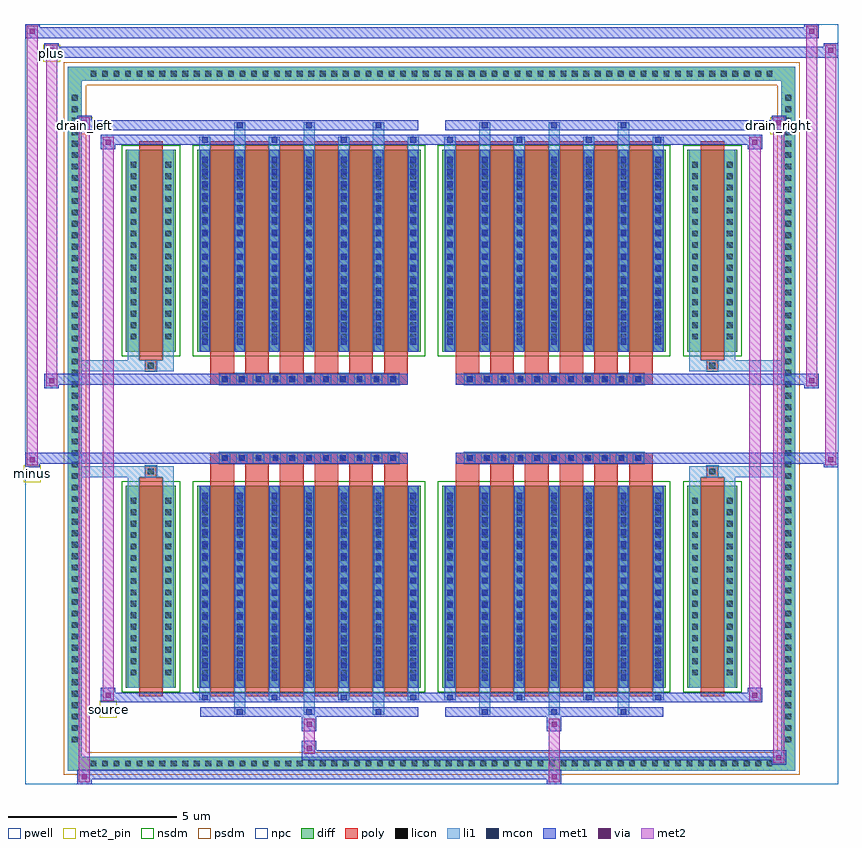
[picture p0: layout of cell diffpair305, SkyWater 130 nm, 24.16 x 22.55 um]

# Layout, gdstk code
import gdstk
lib = gdstk.Library(unit=1e-6, precision=5e-09)
def R(c, l, rs):  # rectangles x0, y0, x1, y1
    for r in rs: c.add(gdstk.rectangle(r[:2], r[2:], *l))
def A(c, l, x, y, w, h, nx, ny, dx, dy):  # array of equal rectangles
    R(c, l, [(x+i*dx, y+j*dy, x+i*dx+w, y+j*dy+h) for i in range(nx) for j in range(ny)])
def P(c, l, *ps):  # polygons
    for p in ps: c.add(gdstk.Polygon(p, *l))
pwell = (64, 44)
diff = (65, 20)
poly = (66, 20)
licon = (66, 44)
li1 = (67, 20)
mcon = (67, 44)
met1 = (68, 20)
via = (68, 44)
met2_pin = (69, 16)
met2 = (69, 20)
nsdm = (93, 44)
psdm = (94, 20)
npc = (95, 20)

diffpair305 = lib.new_cell('diffpair305')
R(diffpair305, pwell, [(-12.06,-10.84,12.06,11.71), (-9.38,-9.03,-0.01,-0.805), (0.01,-9.03,9.38,-0.805), (-9.38,0.805,-0.01,9.03), (0.01,0.805,9.38,9.03)])
A(diffpair305, diff, -10.235, -10.44, 0.41, 0.41, 60, 2, 0.34, 20.47)
A(diffpair305, diff, -10.79, -9.725, 0.41, 0.41, 1, 57, 0, 0.34)
A(diffpair305, diff, 10.38, -9.725, 0.41, 0.41, 1, 57, 0, 0.34)
R(diffpair305, diff, [(-10.235,-10.44,10.235,-10.03), (-10.79,-9.725,-10.38,9.725), (10.38,-9.725,10.79,9.725), (-9.07,-7.985,-7.59,-1.985), (-6.95,-7.985,-0.32,-1.985), (0.32,-7.985,6.95,-1.985), (7.59,-7.985,9.07,-1.985), (-9.07,1.985,-7.59,7.985), (-6.95,1.985,-0.32,7.985), (0.32,1.985,6.95,7.985), (7.59,1.985,9.07,7.985), (-10.235,10.03,10.235,10.44)])
P(diffpair305, diff, [(10.79,10.44),(-10.79,10.44),(-10.79,-10.03),(-10.38,-10.03),(-10.38,10.03),(10.38,10.03),(10.38,-10.03),(-10.38,-10.03),(-10.79,-10.03),(-10.79,-10.44),(10.79,-10.44)])
A(diffpair305, poly, -6.56, -8.235, 0.7, 6.5, 6, 2, 1.03, 9.97)
A(diffpair305, poly, 0.71, -8.235, 0.7, 6.5, 6, 2, 1.03, 9.97)
A(diffpair305, poly, -6.56, -1.735, 0.7, 0.4, 6, 2, 1.03, 3.07)
A(diffpair305, poly, 0.71, -1.735, 0.7, 0.4, 6, 2, 1.03, 3.07)
A(diffpair305, poly, -6.3, -1.335, 0.33, 0.33, 11, 2, 0.5, 2.34)
A(diffpair305, poly, 0.97, -1.335, 0.33, 0.33, 11, 2, 0.5, 2.34)
R(diffpair305, poly, [(-8.68,-8.235,-7.98,-1.735), (7.98,-8.235,8.68,-1.735), (-8.495,-1.735,-8.165,-1.405), (-8.495,-1.735,-8.165,-1.405), (8.165,-1.735,8.495,-1.405), (8.165,-1.735,8.495,-1.405), (-6.56,-1.335,-0.71,-1.005), (0.71,-1.335,6.56,-1.005), (-6.56,1.005,-0.71,1.335), (0.71,1.005,6.56,1.335), (-8.495,1.405,-8.165,1.735), (-8.495,1.405,-8.165,1.735), (8.165,1.405,8.495,1.735), (8.165,1.405,8.495,1.735), (-8.68,1.735,-7.98,8.235), (7.98,1.735,8.68,8.235)])
A(diffpair305, licon, -10.115, -10.32, 0.17, 0.17, 60, 2, 0.34, 20.47)
A(diffpair305, licon, -10.67, -9.605, 0.17, 0.17, 1, 57, 0, 0.34)
A(diffpair305, licon, 10.5, -9.605, 0.17, 0.17, 1, 57, 0, 0.34)
A(diffpair305, licon, -8.93, -7.62, 0.17, 0.17, 1, 16, 0, 0.34)
A(diffpair305, licon, -7.9, -7.62, 0.17, 0.17, 1, 16, 0, 0.34)
A(diffpair305, licon, -6.81, -7.62, 0.17, 0.17, 7, 16, 1.03, 0.34)
A(diffpair305, licon, 0.46, -7.62, 0.17, 0.17, 7, 16, 1.03, 0.34)
A(diffpair305, licon, 7.73, -7.62, 0.17, 0.17, 1, 16, 0, 0.34)
A(diffpair305, licon, 8.76, -7.62, 0.17, 0.17, 1, 16, 0, 0.34)
A(diffpair305, licon, -6.22, -1.255, 0.17, 0.17, 11, 2, 0.5, 2.34)
A(diffpair305, licon, 1.05, -1.255, 0.17, 0.17, 11, 2, 0.5, 2.34)
A(diffpair305, licon, -8.93, 2.35, 0.17, 0.17, 1, 16, 0, 0.34)
A(diffpair305, licon, -7.9, 2.35, 0.17, 0.17, 1, 16, 0, 0.34)
A(diffpair305, licon, -6.81, 2.35, 0.17, 0.17, 7, 16, 1.03, 0.34)
A(diffpair305, licon, 0.46, 2.35, 0.17, 0.17, 7, 16, 1.03, 0.34)
A(diffpair305, licon, 7.73, 2.35, 0.17, 0.17, 1, 16, 0, 0.34)
A(diffpair305, licon, 8.76, 2.35, 0.17, 0.17, 1, 16, 0, 0.34)
R(diffpair305, licon, [(-8.415,-1.655,-8.245,-1.485), (8.245,-1.655,8.415,-1.485), (-8.415,1.485,-8.245,1.655), (8.245,1.485,8.415,1.655)])
A(diffpair305, li1, -10.195, -10.4, 0.33, 0.33, 60, 2, 0.34, 20.47)
A(diffpair305, li1, -10.75, -9.685, 0.33, 0.33, 1, 57, 0, 0.34)
A(diffpair305, li1, 10.42, -9.685, 0.33, 0.33, 1, 57, 0, 0.34)
A(diffpair305, li1, -5.86, -8.79, 0.33, 0.805, 3, 2, 2.06, 16.775)
A(diffpair305, li1, -5.78, -8.79, 0.17, 0.17, 3, 2, 2.06, 17.41)
A(diffpair305, li1, 1.41, -8.79, 0.33, 0.805, 3, 2, 2.06, 16.775)
A(diffpair305, li1, 1.49, -8.79, 0.17, 0.17, 3, 2, 2.06, 17.41)
A(diffpair305, li1, -6.89, -8.36, 0.33, 0.375, 4, 2, 2.06, 16.345)
A(diffpair305, li1, -6.81, -8.36, 0.17, 0.17, 4, 2, 2.06, 16.55)
A(diffpair305, li1, 0.38, -8.36, 0.33, 0.375, 4, 2, 2.06, 16.345)
A(diffpair305, li1, 0.46, -8.36, 0.17, 0.17, 4, 2, 2.06, 16.55)
A(diffpair305, li1, -6.89, -7.985, 0.33, 6, 7, 2, 1.03, 9.97)
A(diffpair305, li1, 0.38, -7.985, 0.33, 6, 7, 2, 1.03, 9.97)
A(diffpair305, li1, -6.81, -7.77, 0.17, 0.17, 7, 16, 1.03, 0.36)
A(diffpair305, li1, -6.81, -7.77, 0.17, 5.57, 7, 2, 1.03, 9.97)
A(diffpair305, li1, 0.46, -7.77, 0.17, 0.17, 7, 16, 1.03, 0.36)
A(diffpair305, li1, 0.46, -7.77, 0.17, 5.57, 7, 2, 1.03, 9.97)
A(diffpair305, li1, -9.01, -7.7, 0.33, 0.33, 1, 16, 0, 0.34)
A(diffpair305, li1, -7.98, -7.7, 0.33, 0.33, 1, 16, 0, 0.34)
A(diffpair305, li1, -6.89, -7.7, 0.33, 0.33, 7, 16, 1.03, 0.34)
A(diffpair305, li1, 0.38, -7.7, 0.33, 0.33, 7, 16, 1.03, 0.34)
A(diffpair305, li1, 7.65, -7.7, 0.33, 0.33, 1, 16, 0, 0.34)
A(diffpair305, li1, 8.68, -7.7, 0.33, 0.33, 1, 16, 0, 0.34)
A(diffpair305, li1, -6.3, -1.335, 0.33, 0.33, 11, 2, 0.5, 2.34)
A(diffpair305, li1, 0.97, -1.335, 0.33, 0.33, 11, 2, 0.5, 2.34)
A(diffpair305, li1, -6.81, 2.2, 0.17, 0.17, 7, 16, 1.03, 0.36)
A(diffpair305, li1, 0.46, 2.2, 0.17, 0.17, 7, 16, 1.03, 0.36)
A(diffpair305, li1, -9.01, 2.27, 0.33, 0.33, 1, 16, 0, 0.34)
A(diffpair305, li1, -7.98, 2.27, 0.33, 0.33, 1, 16, 0, 0.34)
A(diffpair305, li1, -6.89, 2.27, 0.33, 0.33, 7, 16, 1.03, 0.34)
A(diffpair305, li1, 0.38, 2.27, 0.33, 0.33, 7, 16, 1.03, 0.34)
A(diffpair305, li1, 7.65, 2.27, 0.33, 0.33, 1, 16, 0, 0.34)
A(diffpair305, li1, 8.68, 2.27, 0.33, 0.33, 1, 16, 0, 0.34)
R(diffpair305, li1, [(-10.79,-10.44,-10.38,-10.03), (-10.79,-10.44,-10.38,-10.03), (-10.38,-10.44,10.38,-10.03), (10.38,-10.44,10.79,-10.03), (10.38,-10.44,10.79,-10.03), (-10.79,-10.03,-10.38,10.03), (10.38,-10.03,10.79,10.03), (-9.01,-7.985,-8.68,-1.985), (-7.98,-7.985,-7.65,-1.985), (7.65,-7.985,7.98,-1.985), (8.68,-7.985,9.01,-1.985), (-9.01,-1.985,-8.68,-1.405), (-7.98,-1.985,-7.65,-1.405), (7.65,-1.985,7.98,-1.405), (8.68,-1.985,9.01,-1.405), (-10.79,-1.735,-8.495,-1.405), (-9.01,-1.735,-8.495,-1.405), (-8.495,-1.735,-8.165,-1.405), (-8.165,-1.735,-7.65,-1.405), (7.65,-1.735,8.165,-1.405), (8.165,-1.735,8.495,-1.405), (8.165,-1.735,10.79,-1.405), (8.495,-1.735,9.01,-1.405), (-10.79,1.405,-8.495,1.735), (-9.01,1.405,-8.495,1.735), (-9.01,1.405,-8.68,1.985), (-8.495,1.405,-8.165,1.735), (-8.165,1.405,-7.65,1.735), (-7.98,1.405,-7.65,1.985), (7.65,1.405,8.165,1.735), (7.65,1.405,7.98,1.985), (8.165,1.405,8.495,1.735), (8.165,1.405,10.79,1.735), (8.495,1.405,9.01,1.735), (8.68,1.405,9.01,1.985), (-9.01,1.985,-8.68,7.985), (-7.98,1.985,-7.65,7.985), (7.65,1.985,7.98,7.985), (8.68,1.985,9.01,7.985), (-10.79,10.03,-10.38,10.44), (-10.79,10.03,-10.38,10.44), (-10.38,10.03,10.38,10.44), (10.38,10.03,10.79,10.44), (10.38,10.03,10.79,10.44)])
A(diffpair305, mcon, -5.78, -8.79, 0.17, 0.17, 3, 2, 2.06, 17.41)
A(diffpair305, mcon, 1.49, -8.79, 0.17, 0.17, 3, 2, 2.06, 17.41)
A(diffpair305, mcon, -6.81, -8.36, 0.17, 0.17, 4, 2, 2.06, 16.55)
A(diffpair305, mcon, 0.46, -8.36, 0.17, 0.17, 4, 2, 2.06, 16.55)
A(diffpair305, mcon, -6.81, -7.77, 0.17, 0.17, 7, 16, 1.03, 0.36)
A(diffpair305, mcon, 0.46, -7.77, 0.17, 0.17, 7, 16, 1.03, 0.36)
A(diffpair305, mcon, -6.22, -1.255, 0.17, 0.17, 11, 2, 0.5, 2.34)
A(diffpair305, mcon, 1.05, -1.255, 0.17, 0.17, 11, 2, 0.5, 2.34)
A(diffpair305, mcon, -6.81, 2.2, 0.17, 0.17, 7, 16, 1.03, 0.36)
A(diffpair305, mcon, 0.46, 2.2, 0.17, 0.17, 7, 16, 1.03, 0.36)
A(diffpair305, met1, -5.84, -8.85, 0.29, 0.29, 3, 2, 2.06, 17.41)
A(diffpair305, met1, 1.43, -8.85, 0.29, 0.29, 3, 2, 2.06, 17.41)
A(diffpair305, met1, -6.87, -8.42, 0.29, 0.29, 4, 2, 2.06, 16.55)
A(diffpair305, met1, 0.4, -8.42, 0.29, 0.29, 4, 2, 2.06, 16.55)
A(diffpair305, met1, -6.87, -7.985, 0.29, 6, 7, 2, 1.03, 9.97)
A(diffpair305, met1, 0.4, -7.985, 0.29, 6, 7, 2, 1.03, 9.97)
A(diffpair305, met1, -6.87, -7.83, 0.29, 0.29, 7, 16, 1.03, 0.36)
A(diffpair305, met1, 0.4, -7.83, 0.29, 0.29, 7, 16, 1.03, 0.36)
A(diffpair305, met1, -6.28, -1.315, 0.29, 0.29, 11, 2, 0.5, 2.34)
A(diffpair305, met1, 0.99, -1.315, 0.29, 0.29, 11, 2, 0.5, 2.34)
A(diffpair305, met1, -6.87, 2.14, 0.29, 0.29, 7, 16, 1.03, 0.36)
A(diffpair305, met1, 0.4, 2.14, 0.29, 0.29, 7, 16, 1.03, 0.36)
R(diffpair305, met1, [(-10.52,-10.84,-10.09,-10.41), (3.42,-10.84,3.85,-10.41), (-10.52,-10.7,3.85,-10.41), (10.09,-10.27,10.52,-9.84), (-3.85,-10.13,10.52,-9.84), (-3.85,-9.99,-3.42,-9.56), (-3.85,-9.28,-3.42,-8.85), (3.42,-9.28,3.85,-8.85), (-6.87,-8.85,-0.4,-8.56), (0.4,-8.85,6.87,-8.56), (-9.81,-8.42,-9.38,-7.99), (-9.81,-8.42,-6.87,-8.13), (-6.87,-8.42,-0.4,-8.13), (-0.4,-8.42,0.4,-8.13), (0.4,-8.42,6.87,-8.13), (6.87,-8.42,9.81,-8.13), (9.38,-8.42,9.81,-7.99), (-12.06,-1.435,-11.63,-1.005), (11.63,-1.435,12.06,-1.005), (-12.06,-1.335,-0.71,-1.005), (-6.56,-1.335,-0.71,-1.005), (0.71,-1.335,6.56,-1.005), (0.71,-1.335,12.06,-1.005), (-11.49,0.905,-11.06,1.335), (11.06,0.905,11.49,1.335), (-11.49,1.005,-6.56,1.335), (-6.56,1.005,-0.71,1.335), (0.71,1.005,6.56,1.335), (6.56,1.005,11.49,1.335), (-9.81,7.99,-9.38,8.42), (9.38,7.99,9.81,8.42), (-9.81,8.13,-6.87,8.42), (-6.87,8.13,-0.4,8.42), (-0.4,8.13,0.4,8.42), (0.4,8.13,6.87,8.42), (6.87,8.13,9.81,8.42), (-10.52,8.56,-10.09,8.99), (-10.52,8.56,-6.87,8.85), (-6.87,8.56,-0.4,8.85), (0.4,8.56,6.87,8.85), (6.87,8.56,10.52,8.85), (10.09,8.56,10.52,8.99), (-11.49,10.71,-11.06,11.14), (-11.49,10.71,-9.38,11.04), (-9.38,10.71,9.38,11.04), (9.38,10.71,12.06,11.04), (11.63,10.71,12.06,11.14), (-12.06,11.28,-11.63,11.71), (-12.06,11.28,-9.38,11.61), (-9.38,11.28,9.38,11.61), (9.38,11.28,11.49,11.61), (11.06,11.28,11.49,11.71)])
R(diffpair305, via, [(-10.38,-10.7,-10.23,-10.55), (3.56,-10.7,3.71,-10.55), (10.23,-10.13,10.38,-9.98), (-3.71,-9.85,-3.56,-9.7), (-3.71,-9.14,-3.56,-8.99), (3.56,-9.14,3.71,-8.99), (-9.67,-8.28,-9.52,-8.13), (9.52,-8.28,9.67,-8.13), (-11.92,-1.295,-11.77,-1.145), (11.77,-1.295,11.92,-1.145), (-11.35,1.045,-11.2,1.195), (11.2,1.045,11.35,1.195), (-9.67,8.13,-9.52,8.28), (9.52,8.13,9.67,8.28), (-10.38,8.7,-10.23,8.85), (10.23,8.7,10.38,8.85), (-11.35,10.85,-11.2,11), (11.77,10.85,11.92,11), (-11.92,11.42,-11.77,11.57), (11.2,11.42,11.35,11.57)])
R(diffpair305, met2_pin, [(-9.845,-8.87,-9.345,-8.37), (-12.095,-1.885,-11.595,-1.385), (-10.555,8.44,-10.055,8.94), (10.055,8.44,10.555,8.94), (-11.525,10.59,-11.025,11.09)])
R(diffpair305, met2, [(-10.47,-10.79,-10.14,-10.46), (-10.47,-10.79,-10.14,8.94), (3.47,-10.79,3.8,-10.46), (3.47,-10.46,3.8,-9.23), (10.14,-10.22,10.47,-9.89), (10.14,-10.22,10.47,8.94), (-3.8,-9.94,-3.47,-9.61), (-3.8,-9.61,-3.47,-9.23), (-3.8,-9.23,-3.47,-8.9), (3.47,-9.23,3.8,-8.9), (-9.76,-8.37,-9.43,-8.04), (-9.76,-8.37,-9.43,8.37), (9.43,-8.37,9.76,-8.04), (9.43,-8.37,9.76,8.37), (-12.01,-1.385,-11.68,-1.055), (-12.01,-1.385,-11.68,11.66), (11.68,-1.385,12.01,-1.055), (11.68,-1.385,12.01,11.09), (-11.44,0.955,-11.11,1.285), (-11.44,0.955,-11.11,11.09), (11.11,0.955,11.44,1.285), (11.11,0.955,11.44,11.66), (-9.76,8.04,-9.43,8.37), (9.43,8.04,9.76,8.37), (-10.47,8.61,-10.14,8.94), (10.14,8.61,10.47,8.94), (-11.44,10.76,-11.11,11.09), (11.68,10.76,12.01,11.09), (-12.01,11.33,-11.68,11.66), (11.11,11.33,11.44,11.66)])
P(diffpair305, met2, [(12.01,-1.385),(12.01,-1.385),(12.01,-1.055),(12.01,-1.055)],
  [(12.01,10.76),(12.01,10.76),(12.01,11.09),(12.01,11.09)],
  [(-11.68,-1.385),(-11.68,-1.385),(-11.68,-1.055),(-11.68,-1.055)],
  [(-11.68,11.33),(-11.68,11.33),(-11.68,11.66),(-11.68,11.66)],
  [(11.44,0.955),(11.44,0.955),(11.44,1.285),(11.44,1.285)],
  [(11.44,11.33),(11.44,11.33),(11.44,11.66),(11.44,11.66)],
  [(-11.11,0.955),(-11.11,0.955),(-11.11,1.285),(-11.11,1.285)],
  [(-11.11,10.76),(-11.11,10.76),(-11.11,11.09),(-11.11,11.09)],
  [(-10.14,-10.79),(-10.14,-10.79),(-10.14,-10.46),(-10.14,-10.46)],
  [(-10.14,8.61),(-10.14,8.61),(-10.14,8.94),(-10.14,8.94)],
  [(10.47,-10.22),(10.47,-10.22),(10.47,-9.89),(10.47,-9.89)],
  [(10.47,8.61),(10.47,8.61),(10.47,8.94),(10.47,8.94)],
  [(-9.43,-8.37),(-9.43,-8.37),(-9.43,-8.04),(-9.43,-8.04)],
  [(-9.43,8.04),(-9.43,8.04),(-9.43,8.37),(-9.43,8.37)],
  [(9.76,-8.37),(9.76,-8.37),(9.76,-8.04),(9.76,-8.04)],
  [(9.76,8.04),(9.76,8.04),(9.76,8.37),(9.76,8.37)])
R(diffpair305, nsdm, [(-9.2,-8.115,-7.46,-1.855), (-7.08,-8.115,-0.19,-1.855), (0.19,-8.115,7.08,-1.855), (7.46,-8.115,9.2,-1.855), (-9.2,1.855,-7.46,8.115), (-7.08,1.855,-0.19,8.115), (0.19,1.855,7.08,8.115), (7.46,1.855,9.2,8.115)])
P(diffpair305, psdm, [(10.92,10.57),(-10.92,10.57),(-10.92,-9.9),(-10.25,-9.9),(-10.25,9.9),(10.25,9.9),(10.25,-9.9),(-10.25,-9.9),(-10.92,-9.9),(-10.92,-10.57),(10.92,-10.57)])
A(diffpair305, npc, -6.32, -1.355, 0.37, 0.37, 11, 2, 0.5, 2.34)
A(diffpair305, npc, 0.95, -1.355, 0.37, 0.37, 11, 2, 0.5, 2.34)
R(diffpair305, npc, [(-8.515,-1.755,-8.145,-1.385), (8.145,-1.755,8.515,-1.385), (-6.32,-1.355,-5.45,-0.985), (-6.32,-1.355,-5.45,-0.985), (-5.82,-1.355,-4.95,-0.985), (-5.82,-1.355,-4.95,-0.985), (-5.32,-1.355,-4.45,-0.985), (-5.32,-1.355,-4.45,-0.985), (-4.82,-1.355,-3.95,-0.985), (-4.82,-1.355,-3.95,-0.985), (-4.32,-1.355,-3.45,-0.985), (-4.32,-1.355,-3.45,-0.985), (-3.82,-1.355,-2.95,-0.985), (-3.82,-1.355,-2.95,-0.985), (-3.32,-1.355,-2.45,-0.985), (-3.32,-1.355,-2.45,-0.985), (-2.82,-1.355,-1.95,-0.985), (-2.82,-1.355,-1.95,-0.985), (-2.32,-1.355,-1.45,-0.985), (-2.32,-1.355,-1.45,-0.985), (-1.82,-1.355,-0.95,-0.985), (-1.82,-1.355,-0.95,-0.985), (0.95,-1.355,1.82,-0.985), (0.95,-1.355,1.82,-0.985), (1.45,-1.355,2.32,-0.985), (1.45,-1.355,2.32,-0.985), (1.95,-1.355,2.82,-0.985), (1.95,-1.355,2.82,-0.985), (2.45,-1.355,3.32,-0.985), (2.45,-1.355,3.32,-0.985), (2.95,-1.355,3.82,-0.985), (2.95,-1.355,3.82,-0.985), (3.45,-1.355,4.32,-0.985), (3.45,-1.355,4.32,-0.985), (3.95,-1.355,4.82,-0.985), (3.95,-1.355,4.82,-0.985), (4.45,-1.355,5.32,-0.985), (4.45,-1.355,5.32,-0.985), (4.95,-1.355,5.82,-0.985), (4.95,-1.355,5.82,-0.985), (5.45,-1.355,6.32,-0.985), (5.45,-1.355,6.32,-0.985), (-6.32,0.985,-5.45,1.355), (-6.32,0.985,-5.45,1.355), (-5.82,0.985,-4.95,1.355), (-5.82,0.985,-4.95,1.355), (-5.32,0.985,-4.45,1.355), (-5.32,0.985,-4.45,1.355), (-4.82,0.985,-3.95,1.355), (-4.82,0.985,-3.95,1.355), (-4.32,0.985,-3.45,1.355), (-4.32,0.985,-3.45,1.355), (-3.82,0.985,-2.95,1.355), (-3.82,0.985,-2.95,1.355), (-3.32,0.985,-2.45,1.355), (-3.32,0.985,-2.45,1.355), (-2.82,0.985,-1.95,1.355), (-2.82,0.985,-1.95,1.355), (-2.32,0.985,-1.45,1.355), (-2.32,0.985,-1.45,1.355), (-1.82,0.985,-0.95,1.355), (-1.82,0.985,-0.95,1.355), (0.95,0.985,1.82,1.355), (0.95,0.985,1.82,1.355), (1.45,0.985,2.32,1.355), (1.45,0.985,2.32,1.355), (1.95,0.985,2.82,1.355), (1.95,0.985,2.82,1.355), (2.45,0.985,3.32,1.355), (2.45,0.985,3.32,1.355), (2.95,0.985,3.82,1.355), (2.95,0.985,3.82,1.355), (3.45,0.985,4.32,1.355), (3.45,0.985,4.32,1.355), (3.95,0.985,4.82,1.355), (3.95,0.985,4.82,1.355), (4.45,0.985,5.32,1.355), (4.45,0.985,5.32,1.355), (4.95,0.985,5.82,1.355), (4.95,0.985,5.82,1.355), (5.45,0.985,6.32,1.355), (5.45,0.985,6.32,1.355), (-8.515,1.385,-8.145,1.755), (8.145,1.385,8.515,1.755)])
diffpair305.add(gdstk.Label('minus', (-11.845,-1.635), layer=69, texttype=5))
diffpair305.add(gdstk.Label('drain_right', (10.305,8.69), layer=69, texttype=5))
diffpair305.add(gdstk.Label('drain_left', (-10.305,8.69), layer=69, texttype=5))
diffpair305.add(gdstk.Label('source', (-9.595,-8.62), layer=69, texttype=5))
diffpair305.add(gdstk.Label('plus', (-11.275,10.84), layer=69, texttype=5))

lib.write_gds('diffpair305.gds')
